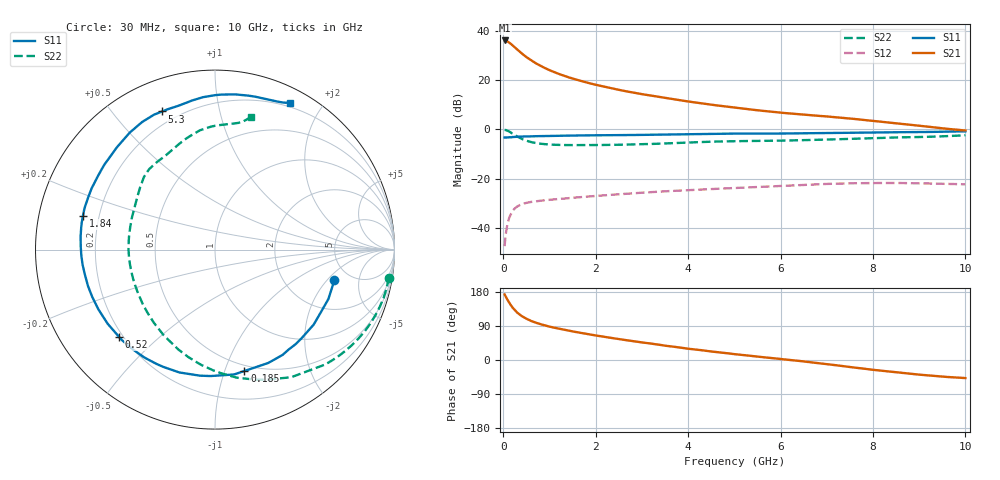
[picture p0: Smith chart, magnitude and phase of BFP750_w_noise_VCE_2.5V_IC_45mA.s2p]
! Infineon Technologies  Discrete & RF Semiconductors
! BFP750
! VCE =  2.5 V,  IC =  45 mA
! Common Emitter S-Parameters:  Jan 2016
# GHz  S  MA  R  50
!  f  S11  S21  S12  S22
! GHz  MAG  ANG  MAG  ANG  MAG  ANG  MAG  ANG
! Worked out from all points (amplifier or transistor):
!   229 points, 30 MHz to 10 GHz, reference 50 ohm
!   highest |S21| = 36.3 dB at 30 MHz (marker M1)
!   |S21| within 3 dB of that: start of sweep to 263 MHz
!   unconditionally stable (mu >= 1): 4.111 GHz to end of sweep
!   at 280 MHz: K = 0.16, MSG = 32.3 dB, |S12| = -31.7 dB
!   at 1.78 GHz: K = 0.68, MSG = 23.3 dB, |S12| = -27.4 dB
!   at 10 GHz: K = 1.06, MAG = 9.5 dB, |S12| = -22.3 dB
!   lowest NFmin = 0.99 dB at 450 MHz
!   S11 on the Smith chart (normalised r, x): 30 MHz: 3.76, -2.41; 185 MHz: 0.45, -1.17; 520 MHz: 0.18, -0.37; 1.84 GHz: 0.14, +0.12; 5.3 GHz: 0.14, +0.68; 10 GHz: 0.16, +1.62
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0.03  0.687 -14.3  65.13 173.0  0.0042 83.5  0.981 -9.2
0.07  0.6859 -32.8  63.73 163.4  0.0093 76.1  0.9651 -22.5
0.11  0.6924 -49.6  60.7 155.0  0.0138 68.4  0.9302 -34.9
0.15  0.6977 -64.9  57.13 147.2  0.0177 61.6  0.8864 -46.3
0.185  0.696 -76.4  53.45 141.3  0.0204 56.5  0.8413 -55.1
0.2  0.7038 -81.3  52.07 138.6  0.0216 54.7  0.8284 -59.1
0.26  0.7074 -96.9  46.38 130.5  0.0251 47.7  0.7614 -72.3
0.34  0.714 -113.6  39.68 121.5  0.0282 41.0  0.6886 -87.4
0.4  0.7186 -123.3  35.52 115.9  0.03 37.3  0.6462 -97.0
0.52  0.7225 -137.8  29.09 107.8  0.0323 32.2  0.5838 -112.2
0.7  0.73 -152.8  22.5 98.6  0.0344 27.7  0.5314 -129.8
0.9  0.7362 -164.1  17.88 91.3  0.0362 25.1  0.5029 -143.7
1.2  0.7449 -176.4  13.58 82.7  0.0384 23.2  0.4857 -158.6
1.7  0.7573 169.1  9.641 71.1  0.0421 21.7  0.481 -175.4
1.84  0.7595 165.8  8.888 68.1  0.0431 21.3  0.4814 -179.2
2.6  0.7694 149.7  6.147 53.4  0.0486 18.9  0.491 163.0
3.4  0.7859 135.4  4.554 39.8  0.0544 15.4  0.5148 148.7
5.1  0.8244 113.2  2.727 14.3  0.0649 6.8  0.5802 128.1
5.3  0.8241 110.9  2.592 11.7  0.0661 5.6  0.5822 125.8
6.8  0.8455 96.6  1.906 -7.9  0.0763 -4.1  0.6167 109.9
8.4  0.8778 77.7  1.37 -31.1  0.0814 -19.0  0.6853 91.9
10  0.9176 62.9  0.953 -47.7  0.0765 -30.2  0.7635 74.9
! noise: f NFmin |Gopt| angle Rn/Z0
0.45  0.99  0.17  -167  0.46
0.9  1.01  0.22  -161  0.23
1.5  1.02  0.32  -156  0.09
1.9  1.03  0.33  -150  0.08
2.4  1.05  0.35  -144  0.09
3.5  1.28  0.37  -129  0.09
